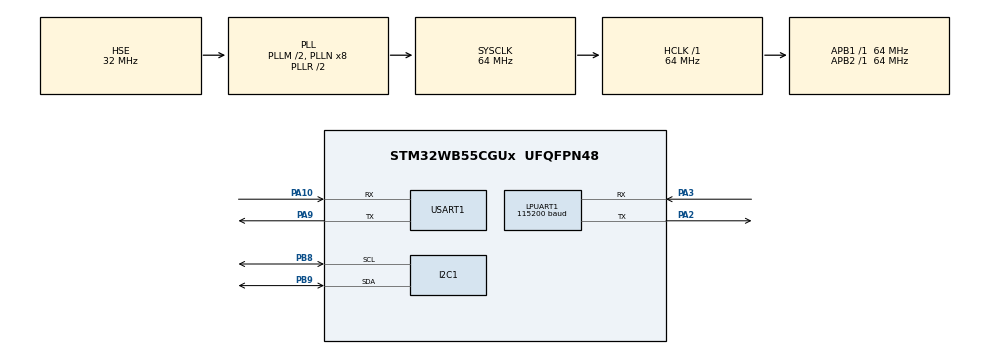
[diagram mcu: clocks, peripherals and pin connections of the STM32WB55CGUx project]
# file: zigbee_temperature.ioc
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Dma.LPUART1_TX.0.Direction=DMA_MEMORY_TO_PERIPH
Dma.LPUART1_TX.0.EventEnable=DISABLE
Dma.LPUART1_TX.0.Instance=DMA1_Channel1
Dma.LPUART1_TX.0.MemDataAlignment=DMA_MDATAALIGN_BYTE
Dma.LPUART1_TX.0.MemInc=DMA_MINC_ENABLE
Dma.LPUART1_TX.0.Mode=DMA_NORMAL
Dma.LPUART1_TX.0.PeriphDataAlignment=DMA_PDATAALIGN_BYTE
Dma.LPUART1_TX.0.PeriphInc=DMA_PINC_DISABLE
Dma.LPUART1_TX.0.Polarity=HAL_DMAMUX_REQ_GEN_RISING
Dma.LPUART1_TX.0.Priority=DMA_PRIORITY_LOW
Dma.LPUART1_TX.0.RequestNumber=1
Dma.LPUART1_TX.0.SignalID=NONE
Dma.LPUART1_TX.0.SyncEnable=DISABLE
Dma.LPUART1_TX.0.SyncPolarity=HAL_DMAMUX_SYNC_NO_EVENT
Dma.LPUART1_TX.0.SyncRequestNumber=1
Dma.LPUART1_TX.0.SyncSignalID=NONE
Dma.Request0=LPUART1_TX
Dma.Request1=USART1_TX
Dma.USART1_TX.1.Direction=DMA_MEMORY_TO_PERIPH
Dma.USART1_TX.1.EventEnable=DISABLE
Dma.USART1_TX.1.Instance=DMA1_Channel2
Dma.USART1_TX.1.MemDataAlignment=DMA_MDATAALIGN_BYTE
Dma.USART1_TX.1.MemInc=DMA_MINC_ENABLE
Dma.USART1_TX.1.Mode=DMA_NORMAL
Dma.USART1_TX.1.PeriphDataAlignment=DMA_PDATAALIGN_BYTE
Dma.USART1_TX.1.PeriphInc=DMA_PINC_DISABLE
Dma.USART1_TX.1.Polarity=HAL_DMAMUX_REQ_GEN_RISING
Dma.USART1_TX.1.Priority=DMA_PRIORITY_LOW
Dma.USART1_TX.1.RequestNumber=1
Dma.USART1_TX.1.SignalID=NONE
Dma.USART1_TX.1.SyncEnable=DISABLE
Dma.USART1_TX.1.SyncPolarity=HAL_DMAMUX_SYNC_NO_EVENT
Dma.USART1_TX.1.SyncRequestNumber=1
Dma.USART1_TX.1.SyncSignalID=NONE
I2C1.Timing=0x10B17DB5
LPUART1.BaudRate=115200
Mcu.Family=STM32WB
Mcu.Name=STM32WB55CGUx
Mcu.Package=UFQFPN48
NVIC.DMA1_Channel1_IRQn=true\:0\:0\:false\:false\:true\:false\:true\:true
NVIC.DMA1_Channel2_IRQn=true\:0\:0\:false\:false\:true\:false\:true\:true
NVIC.HSEM_IRQn=true\:0\:0\:false\:false\:true\:false\:true\:true
NVIC.I2C1_ER_IRQn=true\:0\:0\:false\:false\:true\:true\:true\:true
NVIC.I2C1_EV_IRQn=true\:0\:0\:false\:false\:true\:true\:true\:true
NVIC.IPCC_C1_RX_IRQn=true\:0\:0\:false\:false\:true\:true\:true\:true
NVIC.IPCC_C1_TX_IRQn=true\:0\:0\:false\:false\:true\:true\:true\:true
NVIC.LPUART1_IRQn=true\:0\:0\:false\:false\:true\:true\:true\:true
NVIC.PriorityGroup=NVIC_PRIORITYGROUP_4
NVIC.RTC_WKUP_IRQn=true\:0\:0\:false\:false\:true\:true\:true\:true
NVIC.USART1_IRQn=true\:0\:0\:false\:false\:true\:true\:true\:true
OSC_IN.Mode=HSE-External-Oscillator
OSC_IN.Signal=RCC_OSC_IN
OSC_OUT.Mode=HSE-External-Oscillator
OSC_OUT.Signal=RCC_OSC_OUT
PA10.Mode=Asynchronous
PA10.Signal=USART1_RX
PA2.Mode=Asynchronous
PA2.Signal=LPUART1_TX
PA3.Mode=Asynchronous
PA3.Signal=LPUART1_RX
PA9.Mode=Asynchronous
PA9.Signal=USART1_TX
PB8.Mode=I2C
PB8.Signal=I2C1_SCL
PB9.Mode=I2C
PB9.Signal=I2C1_SDA
PC14-OSC32_IN.Mode=LSE-External-Oscillator
PC14-OSC32_IN.Signal=RCC_OSC32_IN
PC15-OSC32_OUT.Mode=LSE-External-Oscillator
PC15-OSC32_OUT.Signal=RCC_OSC32_OUT
ProjectManager.HeapSize=0x200
ProjectManager.StackSize=0x400
ProjectManager.TargetToolchain=STM32CubeIDE
RCC.ADCFreq_Value=64000000
RCC.AHB2CLKDivider=RCC_SYSCLK_DIV2
RCC.AHBFreq_Value=64000000
RCC.APB1Freq_Value=64000000
RCC.APB1TimFreq_Value=64000000
RCC.APB2Freq_Value=64000000
RCC.APB2TimFreq_Value=64000000
RCC.APB3Freq_Value=16000000
RCC.CortexFreq_Value=64000000
RCC.HCLKFreq_Value=64000000
RCC.HSE_VALUE=32000000
RCC.HSI48_VALUE=48000000
RCC.HSI_VALUE=16000000
RCC.MSIClockRange=RCC_MSIRANGE_10
RCC.PLLM=RCC_PLLM_DIV2
RCC.PLLSourceVirtual=RCC_PLLSOURCE_HSE
RCC.RTCClockSelection=RCC_RTCCLKSOURCE_LSE
RCC.SYSCLKFreq_VALUE=64000000
RCC.SYSCLKSource=RCC_SYSCLKSOURCE_PLLCLK
RCC.USBFreq_Value=64000000
RCC.VCOOutputFreq_Value=128000000
RF1.Mode=RF1_Activate
RF1.Signal=RF_RF1
STM32_WPAN.CFG_CLI_UART=hw_lpuart1
STM32_WPAN.CFG_DEBUG_TRACE=0
STM32_WPAN.CFG_DEBUG_TRACE_LIGHT=1
STM32_WPAN.CFG_DEBUG_TRACE_UART=hw_uart1
STM32_WPAN.CFG_HW_LPUART1_DMA_TX_SUPPORTED=0
STM32_WPAN.CFG_HW_LPUART1_ENABLED=1
STM32_WPAN.CFG_HW_USART1_DMA_TX_SUPPORTED=0
STM32_WPAN.CFG_HW_USART1_ENABLED=1
STM32_WPAN.CFG_LSCLK_LSE=0
STM32_WPAN.ENDPOINT1_DEVICE_ID=ZCL_DEVICE_SIMPLE_SENSOR
STM32_WPAN.ENDPOINT1_ID_ZGB=12
STM32_WPAN.ZCL_TEMPERATURE_MEASUREMENT_ENDPOINT1=SERVER
STM32_WPAN.ZGB_APPLICATION=RFD
STM32_WPAN.ZGB_DEVICE_ROLE=END_DEVICE
STM32_WPAN.ZGB_ENDPOINT1_PROFILE_ID=ZCL_PROFILE_HOME_AUTOMATION
STM32_WPAN.ZGB_SLEEPY_MODE=ON
STM32_WPAN.ZPARAM_TEMPERATURE_MEASUREMENT_MAX_ENDPOINT1=8500
STM32_WPAN.ZPARAM_TEMPERATURE_MEASUREMENT_MIN_ENDPOINT1=-4000
STM32_WPAN.ZPARAM_TEMPERATURE_MEASUREMENT_TOLERANCE_ENDPOINT1=30
USART1.VirtualMode-Asynchronous=VM_ASYNC
VP_HSEM_VS_HSEM.Mode=HSEM_Activate
VP_IPCC_VS_IPCC.Mode=IPCC_Activate
VP_MEMORYMAP_VS_MEMORYMAP.Mode=CurAppReg
VP_RTC_VS_RTC_Activate.Mode=RTC_Enabled
VP_RTC_VS_RTC_Calendar.Mode=RTC_Calendar
VP_RTC_VS_RTC_WakeUp_intern.Mode=WakeUp
VP_SEQUENCER_VS_SEQUENCER.Mode=SEQUENCER_Enabled
VP_STM32_WPAN_VS_ZIGBEE.Mode=MOD_ZGB_ENDPOINT
VP_TINY_LPM_VS_TINY_LPM.Mode=TINY_LPM_Enabled
board=custom

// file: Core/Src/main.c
/* USER CODE BEGIN Header */
/**
  ******************************************************************************
  * @file           : main.c
  * @brief          : Main program body
  ******************************************************************************
  * @attention
  *
  * Copyright (c) 2026 STMicroelectronics.
  * All rights reserved.
  *
  * This software is licensed under terms that can be found in the LICENSE file
  * in the root directory of this software component.
  * If no LICENSE file comes with this software, it is provided AS-IS.
  *
  ******************************************************************************
  */
/* USER CODE END Header */
#include "main.h"

/* USER CODE BEGIN Includes */
#include "driver_aht20_interface.h"
#include <stdint.h>
/* USER CODE END Includes */

/* USER CODE BEGIN PM */
char readBuf[1];
uint8_t txData;
__IO ITStatus UartReady = SET;
RingBuffer txBuf, rxBuf;
/* USER CODE END PM */

I2C_HandleTypeDef hi2c1;

IPCC_HandleTypeDef hipcc;

UART_HandleTypeDef hlpuart1;
UART_HandleTypeDef huart1;
DMA_HandleTypeDef hdma_lpuart1_tx;
DMA_HandleTypeDef hdma_usart1_tx;

RTC_HandleTypeDef hrtc;

/* USER CODE BEGIN PV */
static aht20_handle_t gs_handle;
/* USER CODE END PV */

void SystemClock_Config(void);
void PeriphCommonClock_Config(void);
static void MX_GPIO_Init(void);
static void MX_DMA_Init(void);
static void MX_IPCC_Init(void);
static void MX_RTC_Init(void);
static void MX_I2C1_Init(void);
static void MX_LPUART1_UART_Init(void);
static void MX_USART1_UART_Init(void);
static void MX_RF_Init(void);

/* USER CODE BEGIN 0 */
static int32_t aht20_raw_to_temp_deci_c(uint32_t raw)
{
  return ((int32_t)((raw * 2000UL) / 1048576UL)) - 500;
}

/* USER CODE END 0 */

int main(void)
{

  /* USER CODE BEGIN 1 */
	uint8_t res;
	uint32_t temperature_raw;
	uint32_t humidity_raw;
	float temperature;
	uint8_t humidity;
	aht20_info_t info;
  /* USER CODE END 1 */

  /* MCU Configuration--------------------------------------------------------*/

  /* Reset of all peripherals, Initializes the Flash interface and the Systick. */
  HAL_Init();
  /* Config code for STM32_WPAN (HSE Tuning must be done before system clock configuration) */
  MX_APPE_Config();

  /* Configure the system clock */
  SystemClock_Config();

  /* Configure the peripherals common clocks */
  PeriphCommonClock_Config();

  /* IPCC initialisation */
  MX_IPCC_Init();

  /* Initialize all configured peripherals */
  MX_GPIO_Init();
  MX_DMA_Init();
  MX_RTC_Init();
  MX_I2C1_Init();
  MX_LPUART1_UART_Init();
  MX_USART1_UART_Init();
  MX_RF_Init();

  /* Init code for STM32_WPAN */
  MX_APPE_Init();

  /* Infinite loop */
  /* USER CODE BEGIN WHILE */
  DRIVER_AHT20_LINK_INIT(&gs_handle, aht20_handle_t);
  DRIVER_AHT20_LINK_IIC_INIT(&gs_handle, aht20_interface_iic_init);
  DRIVER_AHT20_LINK_IIC_DEINIT(&gs_handle, aht20_interface_iic_deinit);
  DRIVER_AHT20_LINK_IIC_READ_CMD(&gs_handle, aht20_interface_iic_read_cmd);
  DRIVER_AHT20_LINK_IIC_WRITE_CMD(&gs_handle, aht20_interface_iic_write_cmd);
  DRIVER_AHT20_LINK_DELAY_MS(&gs_handle, aht20_interface_delay_ms);
  DRIVER_AHT20_LINK_DEBUG_PRINT(&gs_handle, aht20_interface_debug_print);

  /* get aht20 information */
  res = aht20_info(&info);
  if (res != 0)
  {
      aht20_interface_debug_print("aht20: get info failed.\n");

      return 1;
  }
  else
  {
      /* print aht20 information */
      aht20_interface_debug_print("aht20: chip is %s.\n", info.chip_name);
      aht20_interface_debug_print("aht20: manufacturer is %s.\n", info.manufacturer_name);
      aht20_interface_debug_print("aht20: interface is %s.\n", info.interface);
      aht20_interface_debug_print("aht20: driver version is %d.%d.\n", info.driver_version / 1000, (info.driver_version % 1000) / 100);
      aht20_interface_debug_print("aht20: min supply voltage is 2.2V.\n");
      aht20_interface_debug_print("aht20: max supply voltage is 5.5V.\n");
      aht20_interface_debug_print("aht20: max current is 0.98mA.\n");
      aht20_interface_debug_print("aht20: max temperature is 85.0C.\n");
      aht20_interface_debug_print("aht20: min temperature is -40.0C.\n");
  }

  /* start basic read test */
  aht20_interface_debug_print("aht20: start read test.\n");

  /* aht20 init */
  res = aht20_init(&gs_handle);
  if (res != 0)
  {
      aht20_interface_debug_print("aht20: init failed.\n");

      return 1;
  }

  /* delay 2000 ms for read */
  aht20_interface_delay_ms(2000);
  while (1)
  {
      /* read temperature and humidity */
      res = aht20_read_temperature_humidity(&gs_handle, (uint32_t *)&temperature_raw, (float *)&temperature, (uint32_t *)&humidity_raw, (uint8_t *)&humidity);
      if (res != 0)
      {
          aht20_interface_debug_print("aht20: read failed.\n");
          (void)aht20_deinit(&gs_handle);

          return 1;
      }

      /* print result */
      int32_t temp_deci_c = aht20_raw_to_temp_deci_c(temperature_raw);
      uint32_t temp_abs_deci_c = (temp_deci_c < 0) ? (uint32_t)(-temp_deci_c) : (uint32_t)temp_deci_c;
      aht20_interface_debug_print("aht20: temperature: %s%lu.%luC.\n",
                                  (temp_deci_c < 0) ? "-" : "",
                                  temp_abs_deci_c / 10UL,
                                  temp_abs_deci_c % 10UL);
      aht20_interface_debug_print("aht20: humidity: %d%%.\n", humidity);

      /* delay 2000 ms*/
      aht20_interface_delay_ms(2000);
    /* USER CODE END WHILE */
    MX_APPE_Process();

  }
}

void SystemClock_Config(void)
{
  RCC_OscInitTypeDef RCC_OscInitStruct = {0};
  RCC_ClkInitTypeDef RCC_ClkInitStruct = {0};

  /** Configure LSE Drive Capability
  */
  HAL_PWR_EnableBkUpAccess();
  __HAL_RCC_LSEDRIVE_CONFIG(RCC_LSEDRIVE_MEDIUMHIGH);

  /** Configure the main internal regulator output voltage
  */
  __HAL_PWR_VOLTAGESCALING_CONFIG(PWR_REGULATOR_VOLTAGE_SCALE1);

  /** Initializes the RCC Oscillators according to the specified parameters
  * in the RCC_OscInitTypeDef structure.
  */
  RCC_OscInitStruct.OscillatorType = RCC_OSCILLATORTYPE_HSI|RCC_OSCILLATORTYPE_HSE
                              |RCC_OSCILLATORTYPE_LSE;
  RCC_OscInitStruct.HSEState = RCC_HSE_ON;
  RCC_OscInitStruct.LSEState = RCC_LSE_ON;
  RCC_OscInitStruct.HSIState = RCC_HSI_ON;
  RCC_OscInitStruct.HSICalibrationValue = RCC_HSICALIBRATION_DEFAULT;
  RCC_OscInitStruct.PLL.PLLState = RCC_PLL_ON;
  RCC_OscInitStruct.PLL.PLLSource = RCC_PLLSOURCE_HSE;
  RCC_OscInitStruct.PLL.PLLM = RCC_PLLM_DIV2;
  RCC_OscInitStruct.PLL.PLLN = 8;
  RCC_OscInitStruct.PLL.PLLP = RCC_PLLP_DIV2;
  RCC_OscInitStruct.PLL.PLLR = RCC_PLLR_DIV2;
  RCC_OscInitStruct.PLL.PLLQ = RCC_PLLQ_DIV2;
  if (HAL_RCC_OscConfig(&RCC_OscInitStruct) != HAL_OK)
  {
    Error_Handler();
  }

  /** Configure the SYSCLKSource, HCLK, PCLK1 and PCLK2 clocks dividers
  */
  RCC_ClkInitStruct.ClockType = RCC_CLOCKTYPE_HCLK4|RCC_CLOCKTYPE_HCLK2
                              |RCC_CLOCKTYPE_HCLK|RCC_CLOCKTYPE_SYSCLK
                              |RCC_CLOCKTYPE_PCLK1|RCC_CLOCKTYPE_PCLK2;
  RCC_ClkInitStruct.SYSCLKSource = RCC_SYSCLKSOURCE_PLLCLK;
  RCC_ClkInitStruct.AHBCLKDivider = RCC_SYSCLK_DIV1;
  RCC_ClkInitStruct.APB1CLKDivider = RCC_HCLK_DIV1;
  RCC_ClkInitStruct.APB2CLKDivider = RCC_HCLK_DIV1;
  RCC_ClkInitStruct.AHBCLK2Divider = RCC_SYSCLK_DIV2;
  RCC_ClkInitStruct.AHBCLK4Divider = RCC_SYSCLK_DIV1;

  if (HAL_RCC_ClockConfig(&RCC_ClkInitStruct, FLASH_LATENCY_3) != HAL_OK)
  {
    Error_Handler();
  }
}

void PeriphCommonClock_Config(void)
{
  RCC_PeriphCLKInitTypeDef PeriphClkInitStruct = {0};

  /** Initializes the peripherals clock
  */
  PeriphClkInitStruct.PeriphClockSelection = RCC_PERIPHCLK_SMPS|RCC_PERIPHCLK_RFWAKEUP;
  PeriphClkInitStruct.RFWakeUpClockSelection = RCC_RFWKPCLKSOURCE_HSE_DIV1024;
  PeriphClkInitStruct.SmpsClockSelection = RCC_SMPSCLKSOURCE_HSI;
  PeriphClkInitStruct.SmpsDivSelection = RCC_SMPSCLKDIV_RANGE1;

  if (HAL_RCCEx_PeriphCLKConfig(&PeriphClkInitStruct) != HAL_OK)
  {
    Error_Handler();
  }
}

static void MX_I2C1_Init(void)
{

  hi2c1.Instance = I2C1;
  hi2c1.Init.Timing = 0x10B17DB5;
  hi2c1.Init.OwnAddress1 = 0;
  hi2c1.Init.AddressingMode = I2C_ADDRESSINGMODE_7BIT;
  hi2c1.Init.DualAddressMode = I2C_DUALADDRESS_DISABLE;
  hi2c1.Init.OwnAddress2 = 0;
  hi2c1.Init.OwnAddress2Masks = I2C_OA2_NOMASK;
  hi2c1.Init.GeneralCallMode = I2C_GENERALCALL_DISABLE;
  hi2c1.Init.NoStretchMode = I2C_NOSTRETCH_DISABLE;
  if (HAL_I2C_Init(&hi2c1) != HAL_OK)
  {
    Error_Handler();
  }

  /** Configure Analogue filter
  */
  if (HAL_I2CEx_ConfigAnalogFilter(&hi2c1, I2C_ANALOGFILTER_ENABLE) != HAL_OK)
  {
    Error_Handler();
  }

  /** Configure Digital filter
  */
  if (HAL_I2CEx_ConfigDigitalFilter(&hi2c1, 0) != HAL_OK)
  {
    Error_Handler();
  }

}

static void MX_IPCC_Init(void)
{

  hipcc.Instance = IPCC;
  if (HAL_IPCC_Init(&hipcc) != HAL_OK)
  {
    Error_Handler();
  }

}

static void MX_LPUART1_UART_Init(void)
{

  hlpuart1.Instance = LPUART1;
  hlpuart1.Init.BaudRate = 115200;
  hlpuart1.Init.WordLength = UART_WORDLENGTH_8B;
  hlpuart1.Init.StopBits = UART_STOPBITS_1;
  hlpuart1.Init.Parity = UART_PARITY_NONE;
  hlpuart1.Init.Mode = UART_MODE_TX_RX;
  hlpuart1.Init.HwFlowCtl = UART_HWCONTROL_NONE;
  hlpuart1.Init.OneBitSampling = UART_ONE_BIT_SAMPLE_DISABLE;
  hlpuart1.Init.ClockPrescaler = UART_PRESCALER_DIV1;
  hlpuart1.AdvancedInit.AdvFeatureInit = UART_ADVFEATURE_NO_INIT;
  hlpuart1.FifoMode = UART_FIFOMODE_DISABLE;
  if (HAL_UART_Init(&hlpuart1) != HAL_OK)
  {
    Error_Handler();
  }
  if (HAL_UARTEx_SetTxFifoThreshold(&hlpuart1, UART_TXFIFO_THRESHOLD_1_8) != HAL_OK)
  {
    Error_Handler();
  }
  if (HAL_UARTEx_SetRxFifoThreshold(&hlpuart1, UART_RXFIFO_THRESHOLD_1_8) != HAL_OK)
  {
    Error_Handler();
  }
  if (HAL_UARTEx_DisableFifoMode(&hlpuart1) != HAL_OK)
  {
    Error_Handler();
  }

}

static void MX_USART1_UART_Init(void)
{

  huart1.Instance = USART1;
  huart1.Init.BaudRate = 115200;
  huart1.Init.WordLength = UART_WORDLENGTH_8B;
  huart1.Init.StopBits = UART_STOPBITS_1;
  huart1.Init.Parity = UART_PARITY_NONE;
  huart1.Init.Mode = UART_MODE_TX_RX;
  huart1.Init.HwFlowCtl = UART_HWCONTROL_NONE;
  huart1.Init.OverSampling = UART_OVERSAMPLING_8;
  huart1.Init.OneBitSampling = UART_ONE_BIT_SAMPLE_DISABLE;
  huart1.Init.ClockPrescaler = UART_PRESCALER_DIV1;
  huart1.AdvancedInit.AdvFeatureInit = UART_ADVFEATURE_NO_INIT;
  if (HAL_UART_Init(&huart1) != HAL_OK)
  {
    Error_Handler();
  }
  if (HAL_UARTEx_SetTxFifoThreshold(&huart1, UART_TXFIFO_THRESHOLD_1_8) != HAL_OK)
  {
    Error_Handler();
  }
  if (HAL_UARTEx_SetRxFifoThreshold(&huart1, UART_RXFIFO_THRESHOLD_1_8) != HAL_OK)
  {
    Error_Handler();
  }
  if (HAL_UARTEx_DisableFifoMode(&huart1) != HAL_OK)
  {
    Error_Handler();
  }

}

static void MX_RF_Init(void)
{

}

static void MX_RTC_Init(void)
{

  RTC_TimeTypeDef sTime = {0};
  RTC_DateTypeDef sDate = {0};

  /** Initialize RTC Only
  */
  hrtc.Instance = RTC;
  hrtc.Init.HourFormat = RTC_HOURFORMAT_24;
  hrtc.Init.AsynchPrediv = CFG_RTC_ASYNCH_PRESCALER;
  hrtc.Init.SynchPrediv = CFG_RTC_SYNCH_PRESCALER;
  hrtc.Init.OutPut = RTC_OUTPUT_DISABLE;
  hrtc.Init.OutPutPolarity = RTC_OUTPUT_POLARITY_HIGH;
  hrtc.Init.OutPutType = RTC_OUTPUT_TYPE_OPENDRAIN;
  hrtc.Init.OutPutRemap = RTC_OUTPUT_REMAP_NONE;
  if (HAL_RTC_Init(&hrtc) != HAL_OK)
  {
    Error_Handler();
  }

  /** Initialize RTC and set the Time and Date
  */
  sTime.Hours = 0x0;
  sTime.Minutes = 0x0;
  sTime.Seconds = 0x0;
  sTime.SubSeconds = 0x0;
  sTime.DayLightSaving = RTC_DAYLIGHTSAVING_NONE;
  sTime.StoreOperation = RTC_STOREOPERATION_RESET;
  if (HAL_RTC_SetTime(&hrtc, &sTime, RTC_FORMAT_BCD) != HAL_OK)
  {
    Error_Handler();
  }
  sDate.WeekDay = RTC_WEEKDAY_MONDAY;
  sDate.Month = RTC_MONTH_JANUARY;
  sDate.Date = 0x1;
  sDate.Year = 0x0;

  if (HAL_RTC_SetDate(&hrtc, &sDate, RTC_FORMAT_BCD) != HAL_OK)
  {
    Error_Handler();
  }

  /** Enable the WakeUp
  */
  if (HAL_RTCEx_SetWakeUpTimer_IT(&hrtc, 0, RTC_WAKEUPCLOCK_RTCCLK_DIV16) != HAL_OK)
  {
    Error_Handler();
  }

}

static void MX_DMA_Init(void)
{

  /* DMA controller clock enable */
  __HAL_RCC_DMAMUX1_CLK_ENABLE();
  __HAL_RCC_DMA1_CLK_ENABLE();

  /* DMA interrupt init */
  /* DMA1_Channel1_IRQn interrupt configuration */
  HAL_NVIC_SetPriority(DMA1_Channel1_IRQn, 0, 0);
  HAL_NVIC_EnableIRQ(DMA1_Channel1_IRQn);
  /* DMA1_Channel2_IRQn interrupt configuration */
  HAL_NVIC_SetPriority(DMA1_Channel2_IRQn, 0, 0);
  HAL_NVIC_EnableIRQ(DMA1_Channel2_IRQn);

}

static void MX_GPIO_Init(void)
{

  /* GPIO Ports Clock Enable */
  __HAL_RCC_GPIOC_CLK_ENABLE();
  __HAL_RCC_GPIOB_CLK_ENABLE();
  __HAL_RCC_GPIOA_CLK_ENABLE();

}

/* USER CODE BEGIN 4 */
uint8_t UART_Transmit(UART_HandleTypeDef *huart, uint8_t *pData, uint16_t len)
{
  if(HAL_UART_Transmit_IT(huart, pData, len) != HAL_OK)
  {
    if(RingBuffer_Write(&txBuf, pData, len) != RING_BUFFER_OK)
      return 0;
  }
  return 1;
}

/* USER CODE END 4 */

void Error_Handler(void)
{
  __disable_irq();
  while (1)
  {
  }
}
